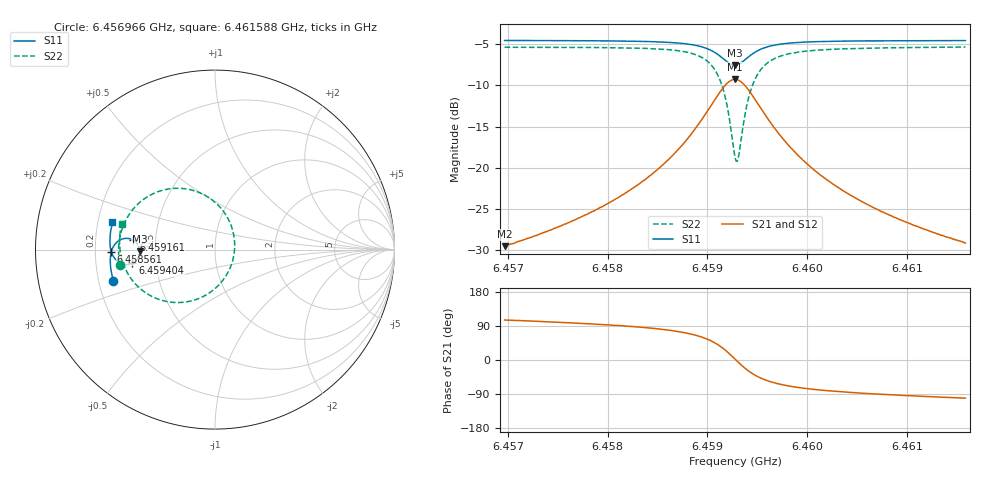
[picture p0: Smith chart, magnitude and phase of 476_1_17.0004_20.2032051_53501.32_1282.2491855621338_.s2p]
#  HZ  S  RI  R  50.00
! Rohde & Schwarz Vector Network Analyzer
! Rohde-Schwarz,ZNB20-2Port,1311601062101988,3.16
! Created: UTC 3/20/2024, 11:13:22 PM
! freq[Hz]  re:S11  im:S11  re:S21  im:S21  re:S12  im:S12  re:S22  im:S22
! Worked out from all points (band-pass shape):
!   401 points, 6.456966 GHz to 6.461588 GHz, reference 50 ohm
!   highest |S21| = -9.28 dB at 6.459277 GHz (marker M1); lowest = -29.5 dB at 6.456966 GHz (marker M2)
!   |S21| within 3 dB of the highest: 6.459046 GHz to 6.459509 GHz (462.9 kHz wide, 0.00717 % of centre)
!   lowest |S11| = -7.6 dB at 6.459277 GHz (marker M3), VSWR 2.44, Z = 20.5 - j0.5 ohm
!   |S11| at or under -10 dB: nowhere
!   |S22| runs from -19.2 to -5.4 dB; largest |S21 - S12| = 0.013
!   S11 on the Smith chart (normalised r, x): 6.456966 GHz: 0.26, -0.14; 6.458561 GHz: 0.27, -0.01; 6.459161 GHz: 0.37, +0.05; 6.459404 GHz: 0.37, -0.07; 6.461588 GHz: 0.26, +0.12
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6.4569662e9  -0.5664 -0.1729  -0.00904 0.0322  -0.00716 0.0322  -0.5316 -0.0859
6.4577403e9  -0.5806 -0.1054  -0.00554 0.0501  -0.00316 0.0495  -0.5373 0.00428
6.4581447e9  -0.5836 -0.0651  -0.000222 0.0683  0.00296 0.0668  -0.5301 0.0676
6.4585144e9  -0.5799 -0.0213  0.014 0.0982  0.0179 0.0954  -0.504 0.1494
6.4585607e9  -0.5784 -0.0149  0.0173 0.1037  0.0214 0.1006  -0.4978 0.1625
6.4587686e9  -0.5662 0.0167  0.0434 0.1351  0.0475 0.1305  -0.449 0.2338
6.4589188e9  -0.545 0.0431  0.0858 0.1653  0.0892 0.1588  -0.3706 0.2979
6.459069e9  -0.4991 0.0626  0.1773 0.1843  0.1782 0.1768  -0.2034 0.3415
6.4591615e9  -0.4547 0.0525  0.2668 0.1533  0.2669 0.1474  -0.0378 0.2919
6.4592077e9  -0.4338 0.0337  0.3101 0.1108  0.3114 0.1055  0.0448 0.2162
6.459277e9  -0.419 -0.0101  0.3433 0.0146  0.3469 0.00764  0.1096 0.0375
6.4592886e9  -0.4195 -0.0181  0.3432 -0.00318  0.347 -0.0108  0.1094 0.0039
6.4593117e9  -0.4228 -0.0336  0.3377 -0.0377  0.3415 -0.0467  0.0986 -0.0614
6.4593579e9  -0.4384 -0.0595  0.3095 -0.0974  0.3116 -0.1091  0.0415 -0.174
6.4594041e9  -0.4602 -0.0758  0.2677 -0.1381  0.2669 -0.1513  -0.0429 -0.2488
6.4594965e9  -0.5034 -0.0824  0.1835 -0.1693  0.1773 -0.1809  -0.2108 -0.2951
6.4596467e9  -0.5469 -0.0619  0.0959 -0.1558  0.0874 -0.162  -0.3778 -0.2462
6.4598085e9  -0.5684 -0.0344  0.0512 -0.1281  0.0436 -0.1307  -0.4581 -0.1745
6.4600511e9  -0.5811 0.00116  0.0222 -0.0967  0.0164 -0.0973  -0.5059 -0.0922
6.4604093e9  -0.5855 0.0435  0.00587 -0.0693  0.00196 -0.0689  -0.5278 -0.011
6.4608252e9  -0.5836 0.0851  -0.00133 -0.0515  -0.00431 -0.0509  -0.5316 0.0549
6.4615878e9  -0.5712 0.1526  -0.00646 -0.0343  -0.00823 -0.0335  -0.52 0.1446
